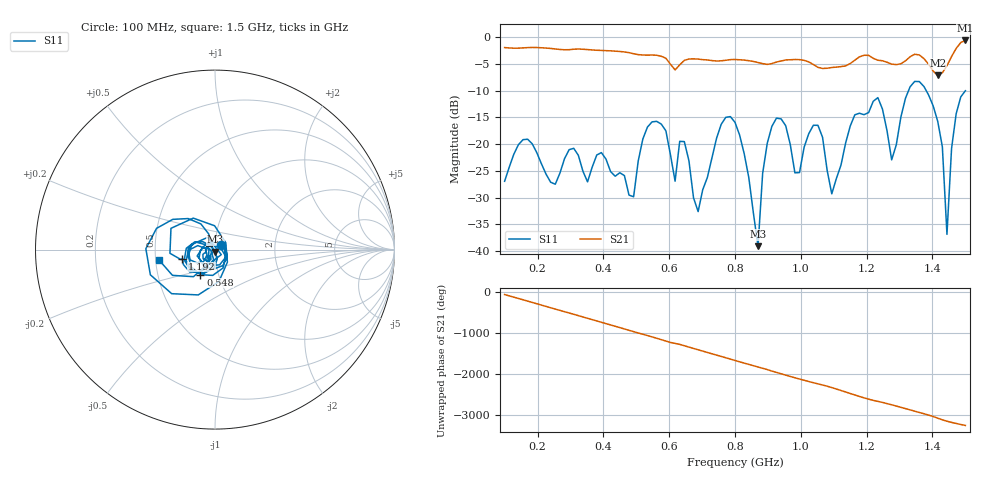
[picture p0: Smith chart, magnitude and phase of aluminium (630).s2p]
! NanoVNA-App
! Date: 2025-09-25 15:00:11
! Start: 100MHz Stop: 1,5GHz Points: 101
! S-Parameter data: F S11 S21 S12 S22
# Hz S RI R 50
!  Frequency  S11_Real  S11_Imag  S21_Real  S21_Imag  S12_Real  S12_Imag  S22_Real  S22_Imag
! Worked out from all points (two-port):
!   101 points, 100 MHz to 1.5 GHz, reference 50 ohm
!   highest |S21| = -0.58 dB at 1.5 GHz (marker M1); lowest = -7.1 dB at 1.416 GHz (marker M2)
!   |S21| within 3 dB of the highest: start of sweep to 577.7 MHz; 1.458 GHz to end of sweep (the widest 2 of 4)
!   lowest |S11| = -39.1 dB at 870 MHz (marker M3), VSWR 1.02, Z = 50.1 - j1.1 ohm
!   |S11| at or under -10 dB: start of sweep to 1.327 GHz; 1.381 GHz to 1.5 GHz (118.8 MHz wide, 8.25 % of centre)
!   S12 and S22 are empty: the file has one direction only
!   S11 on the Smith chart (normalised r, x): 100 MHz: 1.07, +0.06; 548 MHz: 0.82, -0.23; 1.192 GHz: 0.69, -0.07; 1.5 GHz: 0.52, -0.07
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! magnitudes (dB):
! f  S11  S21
! 100 MHz  -27.0  -1.9
! 156 MHz  -19.2  -2.0
! 338 MHz  -25.1  -2.2
! 492 MHz  -29.9  -3.1
! 548 MHz  -15.8  -3.3
! 576 MHz  -16.2  -3.5
! 646 MHz  -19.5  -4.3
! 688 MHz  -32.6  -4.1
! 800 MHz  -15.9  -4.1
! 870 MHz  -39.1  -4.7
! 912 MHz  -16.7  -4.9
! 982 MHz  -25.4  -4.2
! 1.038 GHz  -16.5  -5.1
! 1.094 GHz  -29.3  -5.7
! 1.192 GHz  -14.5  -3.4
! 1.234 GHz  -11.3  -4.3
! 1.276 GHz  -22.9  -5.0
! 1.346 GHz  -8.3  -3.2
! 1.416 GHz  -15.7  -7.1
! 1.444 GHz  -36.9  -5.3
! 1.458 GHz  -20.8  -3.6
! 1.5 GHz  -10.0  -0.6
